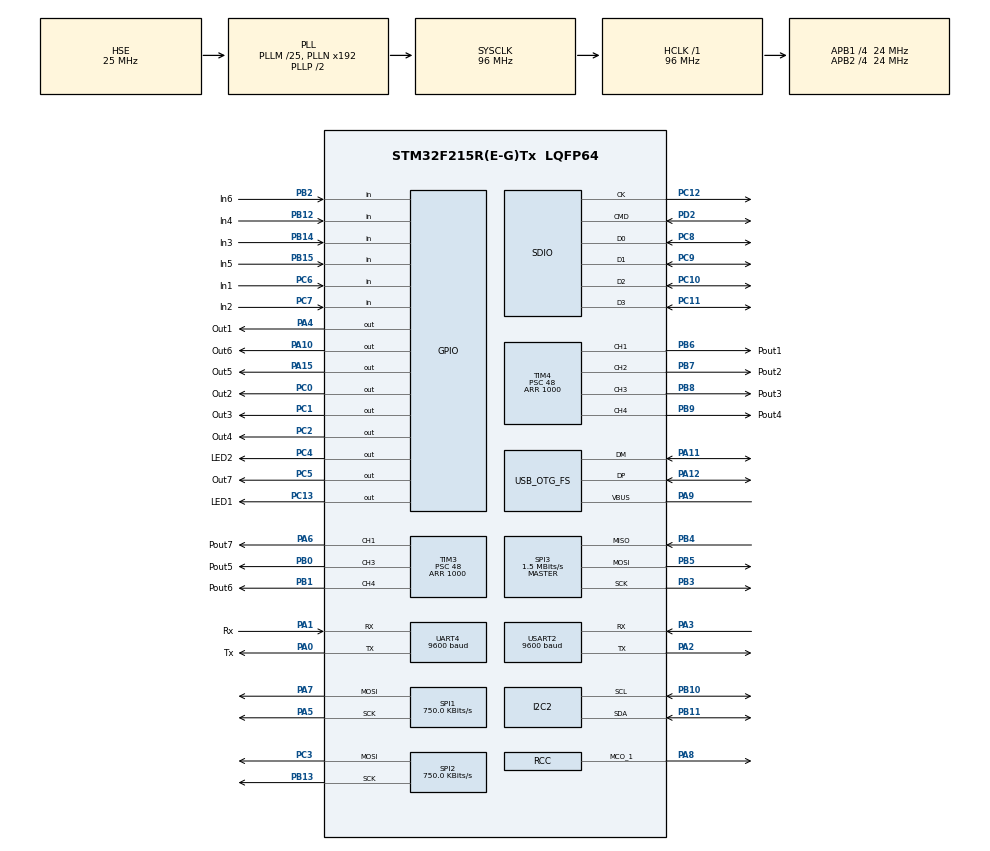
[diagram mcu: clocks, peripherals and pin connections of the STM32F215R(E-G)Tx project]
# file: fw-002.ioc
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ADC1.Channel-4\#ChannelRegularConversion=ADC_CHANNEL_VBAT
ADC1.ClockPrescaler=ADC_CLOCK_SYNC_PCLK_DIV2
ADC1.ContinuousConvMode=DISABLE
ADC1.DataAlign=ADC_DATAALIGN_RIGHT
ADC1.EOCSelection=ADC_EOC_SINGLE_CONV
ADC1.EnableAnalogWatchDog=false
ADC1.InjNumberOfConversion=0
ADC1.NbrOfConversion=1
ADC1.NbrOfConversionFlag=1
ADC1.Rank-4\#ChannelRegularConversion=1
ADC1.Resolution=ADC_RESOLUTION_12B
ADC1.SamplingTime-4\#ChannelRegularConversion=ADC_SAMPLETIME_56CYCLES
ADC1.ScanConvMode=DISABLE
ADC1.master=1
Dma.MEMTOMEM.2.Direction=DMA_MEMORY_TO_MEMORY
Dma.MEMTOMEM.2.FIFOMode=DMA_FIFOMODE_ENABLE
Dma.MEMTOMEM.2.FIFOThreshold=DMA_FIFO_THRESHOLD_FULL
Dma.MEMTOMEM.2.Instance=DMA2_Stream0
Dma.MEMTOMEM.2.MemBurst=DMA_MBURST_SINGLE
Dma.MEMTOMEM.2.MemDataAlignment=DMA_MDATAALIGN_BYTE
Dma.MEMTOMEM.2.MemInc=DMA_MINC_ENABLE
Dma.MEMTOMEM.2.Mode=DMA_NORMAL
Dma.MEMTOMEM.2.PeriphBurst=DMA_PBURST_SINGLE
Dma.MEMTOMEM.2.PeriphDataAlignment=DMA_PDATAALIGN_BYTE
Dma.MEMTOMEM.2.PeriphInc=DMA_PINC_ENABLE
Dma.MEMTOMEM.2.Priority=DMA_PRIORITY_LOW
Dma.Request0=SPI1_TX
Dma.Request1=SPI2_TX
Dma.Request2=MEMTOMEM
Dma.SPI1_TX.0.Direction=DMA_MEMORY_TO_PERIPH
Dma.SPI1_TX.0.FIFOMode=DMA_FIFOMODE_DISABLE
Dma.SPI1_TX.0.Instance=DMA2_Stream3
Dma.SPI1_TX.0.MemDataAlignment=DMA_MDATAALIGN_BYTE
Dma.SPI1_TX.0.MemInc=DMA_MINC_ENABLE
Dma.SPI1_TX.0.Mode=DMA_NORMAL
Dma.SPI1_TX.0.PeriphDataAlignment=DMA_PDATAALIGN_BYTE
Dma.SPI1_TX.0.PeriphInc=DMA_PINC_DISABLE
Dma.SPI1_TX.0.Priority=DMA_PRIORITY_VERY_HIGH
Dma.SPI2_TX.1.Direction=DMA_MEMORY_TO_PERIPH
Dma.SPI2_TX.1.FIFOMode=DMA_FIFOMODE_DISABLE
Dma.SPI2_TX.1.Instance=DMA1_Stream4
Dma.SPI2_TX.1.MemDataAlignment=DMA_MDATAALIGN_BYTE
Dma.SPI2_TX.1.MemInc=DMA_MINC_ENABLE
Dma.SPI2_TX.1.Mode=DMA_NORMAL
Dma.SPI2_TX.1.PeriphDataAlignment=DMA_PDATAALIGN_BYTE
Dma.SPI2_TX.1.PeriphInc=DMA_PINC_DISABLE
Dma.SPI2_TX.1.Priority=DMA_PRIORITY_VERY_HIGH
FATFS._MAX_SS=4096
Mcu.Family=STM32F2
Mcu.Name=STM32F215R(E-G)Tx
Mcu.Package=LQFP64
NVIC.DMA1_Stream4_IRQn=true\:1\:0\:true\:false\:true\:false\:true\:true
NVIC.DMA2_Stream0_IRQn=true\:0\:0\:false\:false\:true\:true\:true\:true
NVIC.DMA2_Stream3_IRQn=true\:1\:0\:true\:false\:true\:false\:true\:true
NVIC.OTG_FS_IRQn=true\:0\:0\:false\:false\:true\:false\:true\:true
NVIC.PriorityGroup=NVIC_PRIORITYGROUP_4
NVIC.TIM3_IRQn=true\:0\:0\:false\:false\:true\:true\:true\:true
NVIC.TIM4_IRQn=true\:0\:0\:false\:false\:true\:true\:true\:true
NVIC.USART2_IRQn=true\:0\:0\:false\:false\:true\:true\:true\:true
PA0-WKUP.GPIO_Label=Tx
PA0-WKUP.Mode=Asynchronous
PA0-WKUP.Signal=UART4_TX
PA1.GPIO_Label=Rx
PA1.Mode=Asynchronous
PA1.Signal=UART4_RX
PA10.GPIO_Label=Out6
PA10.Signal=GPIO_Output
PA11.Mode=Device_Only
PA11.Signal=USB_OTG_FS_DM
PA12.Mode=Device_Only
PA12.Signal=USB_OTG_FS_DP
PA13.Mode=Serial_Wire
PA13.Signal=SYS_JTMS-SWDIO
PA14.Mode=Serial_Wire
PA14.Signal=SYS_JTCK-SWCLK
PA15.GPIO_Label=Out5
PA15.Signal=GPIO_Output
PA2.Mode=Asynchronous
PA2.Signal=USART2_TX
PA3.Mode=Asynchronous
PA3.Signal=USART2_RX
PA4.GPIO_Label=Out1
PA4.Signal=GPIO_Output
PA5.Mode=TX_Only_Simplex_Unidirect_Master
PA5.Signal=SPI1_SCK
PA6.GPIO_Label=Pout7
PA6.Signal=S_TIM3_CH1
PA7.Mode=TX_Only_Simplex_Unidirect_Master
PA7.Signal=SPI1_MOSI
PA8.Mode=Clock-out-1
PA8.Signal=RCC_MCO_1
PA9.Mode=Activate_VBUS
PA9.Signal=USB_OTG_FS_VBUS
PB0.GPIO_Label=Pout5
PB0.Signal=S_TIM3_CH3
PB1.GPIO_Label=Pout6
PB1.Signal=S_TIM3_CH4
PB10.GPIO_Pu=GPIO_PULLUP
PB10.Mode=I2C
PB10.Signal=I2C2_SCL
PB11.GPIO_Pu=GPIO_PULLUP
PB11.Mode=I2C
PB11.Signal=I2C2_SDA
PB12.GPIO_Label=In4
PB12.Signal=GPIO_Input
PB13.Mode=TX_Only_Simplex_Unidirect_Master
PB13.Signal=SPI2_SCK
PB14.GPIO_Label=In3
PB14.Signal=GPIO_Input
PB15.GPIO_Label=In5
PB15.Signal=GPIO_Input
PB2.GPIO_Label=In6
PB2.Signal=GPIO_Input
PB3.Mode=Full_Duplex_Master
PB3.Signal=SPI3_SCK
PB4.Mode=Full_Duplex_Master
PB4.Signal=SPI3_MISO
PB5.Mode=Full_Duplex_Master
PB5.Signal=SPI3_MOSI
PB6.GPIO_Label=Pout1
PB6.Signal=S_TIM4_CH1
PB7.GPIO_Label=Pout2
PB7.Signal=S_TIM4_CH2
PB8.GPIO_Label=Pout3
PB8.Signal=S_TIM4_CH3
PB9.GPIO_Label=Pout4
PB9.Signal=S_TIM4_CH4
PC0.GPIO_Label=Out2
PC0.Signal=GPIO_Output
PC1.GPIO_Label=Out3
PC1.Signal=GPIO_Output
PC10.GPIO_PuPd=GPIO_PULLUP
PC10.Mode=SD_4_bits_Wide_bus
PC10.Signal=SDIO_D2
PC11.GPIO_PuPd=GPIO_PULLUP
PC11.Mode=SD_4_bits_Wide_bus
PC11.Signal=SDIO_D3
PC12.GPIO_PuPd=GPIO_NOPULL
PC12.Mode=SD_4_bits_Wide_bus
PC12.Signal=SDIO_CK
PC13.GPIO_Label=LED1
PC13.Signal=GPIO_Output
PC14-OSC32_IN.Mode=LSE-External-Oscillator
PC14-OSC32_IN.Signal=RCC_OSC32_IN
PC15-OSC32_OUT.Mode=LSE-External-Oscillator
PC15-OSC32_OUT.Signal=RCC_OSC32_OUT
PC2.GPIO_Label=Out4
PC2.Signal=GPIO_Output
PC3.Mode=TX_Only_Simplex_Unidirect_Master
PC3.Signal=SPI2_MOSI
PC4.GPIO_Label=LED2
PC4.PinState=GPIO_PIN_SET
PC4.Signal=GPIO_Output
PC5.GPIO_Label=Out7
PC5.Signal=GPIO_Output
PC6.GPIO_Label=In1
PC6.Signal=GPIO_Input
PC7.GPIO_Label=In2
PC7.Signal=GPIO_Input
PC8.GPIO_PuPd=GPIO_PULLUP
PC8.Mode=SD_4_bits_Wide_bus
PC8.Signal=SDIO_D0
PC9.GPIO_PuPd=GPIO_PULLUP
PC9.Mode=SD_4_bits_Wide_bus
PC9.Signal=SDIO_D1
PD2.GPIO_PuPd=GPIO_PULLUP
PD2.Mode=SD_4_bits_Wide_bus
PD2.Signal=SDIO_CMD
PH0-OSC_IN.Mode=HSE-External-Oscillator
PH0-OSC_IN.Signal=RCC_OSC_IN
PH1-OSC_OUT.Mode=HSE-External-Oscillator
PH1-OSC_OUT.Signal=RCC_OSC_OUT
ProjectManager.HeapSize=0x200
ProjectManager.StackSize=0x400
ProjectManager.TargetToolchain=STM32CubeIDE
RCC.48MHZClocksFreq_Value=48000000
RCC.AHBFreq_Value=96000000
RCC.APB1CLKDivider=RCC_HCLK_DIV4
RCC.APB1Freq_Value=24000000
RCC.APB1TimFreq_Value=48000000
RCC.APB2CLKDivider=RCC_HCLK_DIV4
RCC.APB2Freq_Value=24000000
RCC.APB2TimFreq_Value=48000000
RCC.CortexFreq_Value=96000000
RCC.HCLKFreq_Value=96000000
RCC.HSE_VALUE=25000000
RCC.HSI_VALUE=16000000
RCC.PLLM=25
RCC.PLLSourceVirtual=RCC_PLLSOURCE_HSE
RCC.PWR_Regulator_Voltage_Scale=PWR_REGULATOR_VOLTAGE_SCALE1
RCC.RCC_MCO1Source=RCC_MCO1SOURCE_HSE
RCC.RCC_TIM_PRescaler_Selection=RCC_TIMPRES_DESACTIVATED
RCC.SYSCLKFreq_VALUE=96000000
RCC.SYSCLKSource=RCC_SYSCLKSOURCE_PLLCLK
RCC.VCOOutputFreq_Value=192000000
RTC.Format=RTC_FORMAT_BIN
SDIO.ClockDiv=48
SH.S_TIM3_CH1.0=TIM3_CH1,PWM Generation1 CH1
SH.S_TIM3_CH3.0=TIM3_CH3,PWM Generation3 CH3
SH.S_TIM3_CH4.0=TIM3_CH4,PWM Generation4 CH4
SH.S_TIM4_CH1.0=TIM4_CH1,PWM Generation1 CH1
SH.S_TIM4_CH2.0=TIM4_CH2,PWM Generation2 CH2
SH.S_TIM4_CH3.0=TIM4_CH3,PWM Generation3 CH3
SH.S_TIM4_CH4.0=TIM4_CH4,PWM Generation4 CH4
SPI1.BaudRatePrescaler=SPI_BAUDRATEPRESCALER_32
SPI1.CalculateBaudRate=750.0 KBits/s
SPI1.Direction=SPI_DIRECTION_2LINES
SPI1.Mode=SPI_MODE_MASTER
SPI1.VirtualType=VM_MASTER
SPI2.BaudRatePrescaler=SPI_BAUDRATEPRESCALER_32
SPI2.CalculateBaudRate=750.0 KBits/s
SPI2.Direction=SPI_DIRECTION_2LINES
SPI2.Mode=SPI_MODE_MASTER
SPI2.VirtualType=VM_MASTER
SPI3.BaudRatePrescaler=SPI_BAUDRATEPRESCALER_16
SPI3.CalculateBaudRate=1.5 MBits/s
SPI3.Direction=SPI_DIRECTION_2LINES
SPI3.Mode=SPI_MODE_MASTER
SPI3.VirtualType=VM_MASTER
TIM3.Channel-PWM\ Generation1\ CH1=TIM_CHANNEL_1
TIM3.Channel-PWM\ Generation3\ CH3=TIM_CHANNEL_3
TIM3.Channel-PWM\ Generation4\ CH4=TIM_CHANNEL_4
TIM3.Period=1000
TIM3.Prescaler=48
TIM3.Pulse-PWM\ Generation4\ CH4=0
TIM4.Channel-PWM\ Generation1\ CH1=TIM_CHANNEL_1
TIM4.Channel-PWM\ Generation2\ CH2=TIM_CHANNEL_2
TIM4.Channel-PWM\ Generation3\ CH3=TIM_CHANNEL_3
TIM4.Channel-PWM\ Generation4\ CH4=TIM_CHANNEL_4
TIM4.Period=1000
TIM4.Prescaler=48
TIM4.Pulse-PWM\ Generation4\ CH4=0
UART4.BaudRate=9600
UART4.VirtualMode=Asynchronous
USART2.BaudRate=9600
USART2.VirtualMode=VM_ASYNC
USB_DEVICE.CLASS_NAME_FS=CDC
USB_DEVICE.PRODUCT_STRING_CDC_FS=STM Virtual ComPort
USB_DEVICE.VirtualMode-CDC_FS=Cdc
USB_DEVICE.VirtualModeFS=Cdc_FS
USB_OTG_FS.VirtualMode=Device_Only
VP_ADC1_Vbat_Input.Mode=IN-Vbat
VP_CRC_VS_CRC.Mode=CRC_Activate
VP_FATFS_VS_SDIO.Mode=SDIO
VP_RNG_VS_RNG.Mode=RNG_Activate
VP_RTC_VS_RTC_Activate.Mode=RTC_Enabled
VP_RTC_VS_RTC_Calendar.Mode=RTC_Calendar
VP_USB_DEVICE_VS_USB_DEVICE_CDC_FS.Mode=CDC_FS
board=custom

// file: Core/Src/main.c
/* USER CODE BEGIN Header */
/**
  ******************************************************************************
  * @file           : main.c
  * @brief          : Main program body
  ******************************************************************************
  * @attention
  *
  * Copyright (c) 2022 STMicroelectronics.
  * All rights reserved.
  *
  * This software is licensed under terms that can be found in the LICENSE file
  * in the root directory of this software component.
  * If no LICENSE file comes with this software, it is provided AS-IS.
  *
  ******************************************************************************
  */
/* USER CODE END Header */
#include "main.h"
#include "adc.h"
#include "crc.h"
#include "dma.h"
#include "fatfs.h"
#include "i2c.h"
#include "rng.h"
#include "rtc.h"
#include "sdio.h"
#include "spi.h"
#include "tim.h"
#include "usart.h"
#include "usb_device.h"
#include "gpio.h"

/* USER CODE BEGIN Includes */

#include "module.h"
#include "stdlib.h"

/* USER CODE END Includes */

/* USER CODE BEGIN PD */

#define LORA

/* USER CODE END PD */

/* USER CODE BEGIN PV */
//		uint8_t crc[16] = {0x00,0x00,0x00,0x0f,0x01,0x01,0xFF,0xFF,0xFF,0xFF,0x00,0x01,0x01,0x00,0x01,0x00};
		extern LED_ColorTypeDef Debug_LED1;
		extern LED_ColorTypeDef Debug_LED2;
		extern uint8_t init_OK;

		uint16_t ModbusReg[32] = {
				0x0065, // 0 - адрес
				0x0000,	// 1 - чётность
				0x0000,	// 2 - стоп бит
				0x0000,	// 3 - бодрейт
				0x0000,	// 4 -
				0x0000,	// 5 -
				0x0000,	// 6 -
				0x0303,	// 7 - LoRa
				0x6200, // 8 - LoRa
				0x0303, // 9 - LoRa
				0x0000, // 10 - кормовой правый
				0x0000, // 11 - кормовой левый
				0x0000, // 12 - носовой правый
				0x0000, // 13 - носовой левый
				0x0000, // 14 - полный стоп
				0x0000, // 15 -
				0x0000, // 16 -
				0x0000, // 17 -
				0x0000, // 18 -
				0x0000, // 19 -
				0x0000, // 20 - заряд батареи
				0x0000, // 21 -
				0x0000, // 22 -
				0x0000, // 23 -
				0x0000, // 24 -
				0x0000, // 25 -
				0x0000, // 26 -
				0x0000, // 27 -
				0x0000, // 28 -
				0x0000, // 29 -
				0x0000, // 30 -
				0x0000  // 31 -
		};
		uint8_t rx_byte;

/* USER CODE END PV */

void SystemClock_Config(void);
/* USER CODE BEGIN PFP */

uint16_t MRTU_CRC(uint8_t *data, uint8_t len);
void MRTU_Read(uint16_t reg);
void MRTU_Write(uint16_t reg, uint16_t value);
void MRTU_Error(uint8_t code, uint8_t func);
void Update_reg(void);

/* USER CODE END PFP */

/* USER CODE BEGIN 0 */
/* Table of CRC values for high–order byte*/
const uint8_t auchCRCHi[] = {
0x00, 0xC1, 0x81, 0x40, 0x01, 0xC0, 0x80, 0x41, 0x01, 0xC0, 0x80, 0x41, 0x00, 0xC1, 0x81,
0x40, 0x01, 0xC0, 0x80, 0x41, 0x00, 0xC1, 0x81, 0x40, 0x00, 0xC1, 0x81, 0x40, 0x01, 0xC0,
0x80, 0x41, 0x01, 0xC0, 0x80, 0x41, 0x00, 0xC1, 0x81, 0x40, 0x00, 0xC1, 0x81, 0x40, 0x01,
0xC0, 0x80, 0x41, 0x00, 0xC1, 0x81, 0x40, 0x01, 0xC0, 0x80, 0x41, 0x01, 0xC0, 0x80, 0x41,
0x00, 0xC1, 0x81, 0x40, 0x01, 0xC0, 0x80, 0x41, 0x00, 0xC1, 0x81, 0x40, 0x00, 0xC1, 0x81,
0x40, 0x01, 0xC0, 0x80, 0x41, 0x00, 0xC1, 0x81, 0x40, 0x01, 0xC0, 0x80, 0x41, 0x01, 0xC0,
0x80, 0x41, 0x00, 0xC1, 0x81, 0x40, 0x00, 0xC1, 0x81, 0x40, 0x01, 0xC0, 0x80, 0x41, 0x01,
0xC0, 0x80, 0x41, 0x00, 0xC1, 0x81, 0x40, 0x01, 0xC0, 0x80, 0x41, 0x00, 0xC1, 0x81, 0x40,
0x00, 0xC1, 0x81, 0x40, 0x01, 0xC0, 0x80, 0x41, 0x01, 0xC0, 0x80, 0x41, 0x00, 0xC1, 0x81,
0x40, 0x00, 0xC1, 0x81, 0x40, 0x01, 0xC0, 0x80, 0x41, 0x00, 0xC1, 0x81, 0x40, 0x01, 0xC0,
0x80, 0x41, 0x01, 0xC0, 0x80, 0x41, 0x00, 0xC1, 0x81, 0x40, 0x00, 0xC1, 0x81, 0x40, 0x01,
0xC0, 0x80, 0x41, 0x01, 0xC0, 0x80, 0x41, 0x00, 0xC1, 0x81, 0x40, 0x01, 0xC0, 0x80, 0x41,
0x00, 0xC1, 0x81, 0x40, 0x00, 0xC1, 0x81, 0x40, 0x01, 0xC0, 0x80, 0x41, 0x00, 0xC1, 0x81,
0x40, 0x01, 0xC0, 0x80, 0x41, 0x01, 0xC0, 0x80, 0x41, 0x00, 0xC1, 0x81, 0x40, 0x01, 0xC0,
0x80, 0x41, 0x00, 0xC1, 0x81, 0x40, 0x00, 0xC1, 0x81, 0x40, 0x01, 0xC0, 0x80, 0x41, 0x01,
0xC0, 0x80, 0x41, 0x00, 0xC1, 0x81, 0x40, 0x00, 0xC1, 0x81, 0x40, 0x01, 0xC0, 0x80, 0x41,
0x00, 0xC1, 0x81, 0x40, 0x01, 0xC0, 0x80, 0x41, 0x01, 0xC0, 0x80, 0x41, 0x00, 0xC1, 0x81,
0x40
};

/* Table of CRC values for low–order byte*/
const uint8_t auchCRCLo[] = {
0x00, 0xC0, 0xC1, 0x01, 0xC3, 0x03, 0x02, 0xC2, 0xC6, 0x06, 0x07, 0xC7, 0x05, 0xC5, 0xC4,
0x04, 0xCC, 0x0C, 0x0D, 0xCD, 0x0F, 0xCF, 0xCE, 0x0E, 0x0A, 0xCA, 0xCB, 0x0B, 0xC9, 0x09,
0x08, 0xC8, 0xD8, 0x18, 0x19, 0xD9, 0x1B, 0xDB, 0xDA, 0x1A, 0x1E, 0xDE, 0xDF, 0x1F, 0xDD,
0x1D, 0x1C, 0xDC, 0x14, 0xD4, 0xD5, 0x15, 0xD7, 0x17, 0x16, 0xD6, 0xD2, 0x12, 0x13, 0xD3,
0x11, 0xD1, 0xD0, 0x10, 0xF0, 0x30, 0x31, 0xF1, 0x33, 0xF3, 0xF2, 0x32, 0x36, 0xF6, 0xF7,
0x37, 0xF5, 0x35, 0x34, 0xF4, 0x3C, 0xFC, 0xFD, 0x3D, 0xFF, 0x3F, 0x3E, 0xFE, 0xFA, 0x3A,
0x3B, 0xFB, 0x39, 0xF9, 0xF8, 0x38, 0x28, 0xE8, 0xE9, 0x29, 0xEB, 0x2B, 0x2A, 0xEA, 0xEE,
0x2E, 0x2F, 0xEF, 0x2D, 0xED, 0xEC, 0x2C, 0xE4, 0x24, 0x25, 0xE5, 0x27, 0xE7, 0xE6, 0x26,
0x22, 0xE2, 0xE3, 0x23, 0xE1, 0x21, 0x20, 0xE0, 0xA0, 0x60, 0x61, 0xA1, 0x63, 0xA3, 0xA2,
0x62, 0x66, 0xA6, 0xA7, 0x67, 0xA5, 0x65, 0x64, 0xA4, 0x6C, 0xAC, 0xAD, 0x6D, 0xAF, 0x6F,
0x6E, 0xAE, 0xAA, 0x6A, 0x6B, 0xAB, 0x69, 0xA9, 0xA8, 0x68, 0x78, 0xB8, 0xB9, 0x79, 0xBB,
0x7B, 0x7A, 0xBA, 0xBE, 0x7E, 0x7F, 0xBF, 0x7D, 0xBD, 0xBC, 0x7C, 0xB4, 0x74, 0x75, 0xB5,
0x77, 0xB7, 0xB6, 0x76, 0x72, 0xB2, 0xB3, 0x73, 0xB1, 0x71, 0x70, 0xB0, 0x50, 0x90, 0x91,
0x51, 0x93, 0x53, 0x52, 0x92, 0x96, 0x56, 0x57, 0x97, 0x55, 0x95, 0x94, 0x54, 0x9C, 0x5C,
0x5D, 0x9D, 0x5F, 0x9F, 0x9E, 0x5E, 0x5A, 0x9A, 0x9B, 0x5B, 0x99, 0x59, 0x58, 0x98, 0x88,
0x48, 0x49, 0x89, 0x4B, 0x8B, 0x8A, 0x4A, 0x4E, 0x8E, 0x8F, 0x4F, 0x8D, 0x4D, 0x4C, 0x8C,
0x44, 0x84, 0x85, 0x45, 0x87, 0x47, 0x46, 0x86, 0x82, 0x42, 0x43, 0x83, 0x41, 0x81, 0x80,
0x40
};
/* USER CODE END 0 */

int main(void)
{

  /* MCU Configuration--------------------------------------------------------*/

  /* Reset of all peripherals, Initializes the Flash interface and the Systick. */
  HAL_Init();

  /* Configure the system clock */
  SystemClock_Config();

  /* Initialize all configured peripherals */
  MX_GPIO_Init();
  MX_DMA_Init();
  MX_SPI1_Init();
  MX_SPI2_Init();
  MX_FATFS_Init();
  MX_TIM4_Init();
  MX_I2C2_Init();
  MX_RTC_Init();
  MX_SPI3_Init();
  MX_UART4_Init();
  MX_USB_DEVICE_Init();
  MX_TIM3_Init();
  MX_USART2_UART_Init();
  MX_RNG_Init();
  MX_SDIO_SD_Init();
  MX_CRC_Init();
  MX_ADC1_Init();
  /* USER CODE BEGIN 2 */

  	MM_Init();
	HAL_UART_Receive_IT(&huart2, &rx_byte, 1);

#ifdef LORA
	HAL_SPI_DeInit(&hspi3);
	GPIO_InitTypeDef GPIO_InitStruct = {0};
	  GPIO_InitStruct.Pin = GPIO_PIN_3|GPIO_PIN_4|GPIO_PIN_5;
	  GPIO_InitStruct.Mode = GPIO_MODE_OUTPUT_PP;
	  GPIO_InitStruct.Pull = GPIO_NOPULL;
	  HAL_GPIO_Init(GPIOB, &GPIO_InitStruct);
#define LORA_SET HAL_GPIO_WritePin(GPIOB, GPIO_PIN_3, GPIO_PIN_SET);
#define LORA_WORK HAL_GPIO_WritePin(GPIOB, GPIO_PIN_3, GPIO_PIN_RESET);

		LORA_SET
		HAL_Delay(1000);
		uint8_t prog_string[9] = {0xc0, 0x00, 0x06, 0x03, 0x03, 0x62, 0x00, 0x03, 0x03};
		HAL_UART_Transmit(&huart2, prog_string, 9, 50);
		HAL_Delay(1000);
		LORA_WORK

	  LORA_WORK

#endif
  	init_OK = 1;

  /* USER CODE END 2 */

  /* Infinite loop */
  while (1)
  {

    /* USER CODE BEGIN 3 */

//	  Debug_LED1 = 	RED;
	  Debug_LED1 = BLACK;
	  Debug_LED2 = BLACK;
	  HAL_Delay(500);

//	  Debug_LED1 = BLACK;

	  Debug_LED1 = GREEN;
	  HAL_Delay(500);

//	  CDC_Transmit_FS(rx_data, 10);
//	  HAL_UART_Transmit(&huart2, rx_data, 7, 10);

  }
  /* USER CODE END 3 */
}

void SystemClock_Config(void)
{
  RCC_OscInitTypeDef RCC_OscInitStruct = {0};
  RCC_ClkInitTypeDef RCC_ClkInitStruct = {0};
  RCC_PeriphCLKInitTypeDef PeriphClkInitStruct = {0};

  /** Initializes the RCC Oscillators according to the specified parameters
  * in the RCC_OscInitTypeDef structure.
  */
  RCC_OscInitStruct.OscillatorType = RCC_OSCILLATORTYPE_LSI|RCC_OSCILLATORTYPE_HSE;
  RCC_OscInitStruct.HSEState = RCC_HSE_ON;
  RCC_OscInitStruct.LSIState = RCC_LSI_ON;
  RCC_OscInitStruct.PLL.PLLState = RCC_PLL_ON;
  RCC_OscInitStruct.PLL.PLLSource = RCC_PLLSOURCE_HSE;
  RCC_OscInitStruct.PLL.PLLM = 25;
  RCC_OscInitStruct.PLL.PLLN = 192;
  RCC_OscInitStruct.PLL.PLLP = RCC_PLLP_DIV2;
  RCC_OscInitStruct.PLL.PLLQ = 4;
  if (HAL_RCC_OscConfig(&RCC_OscInitStruct) != HAL_OK)
  {
    Error_Handler();
  }

  /** Initializes the CPU, AHB and APB buses clocks
  */
  RCC_ClkInitStruct.ClockType = RCC_CLOCKTYPE_HCLK|RCC_CLOCKTYPE_SYSCLK
                              |RCC_CLOCKTYPE_PCLK1|RCC_CLOCKTYPE_PCLK2;
  RCC_ClkInitStruct.SYSCLKSource = RCC_SYSCLKSOURCE_PLLCLK;
  RCC_ClkInitStruct.AHBCLKDivider = RCC_SYSCLK_DIV1;
  RCC_ClkInitStruct.APB1CLKDivider = RCC_HCLK_DIV4;
  RCC_ClkInitStruct.APB2CLKDivider = RCC_HCLK_DIV4;

  if (HAL_RCC_ClockConfig(&RCC_ClkInitStruct, FLASH_LATENCY_3) != HAL_OK)
  {
    Error_Handler();
  }
  PeriphClkInitStruct.PeriphClockSelection = RCC_PERIPHCLK_RTC;
  PeriphClkInitStruct.RTCClockSelection = RCC_RTCCLKSOURCE_LSI;
  if (HAL_RCCEx_PeriphCLKConfig(&PeriphClkInitStruct) != HAL_OK)
  {
    Error_Handler();
  }
  HAL_RCC_MCOConfig(RCC_MCO1, RCC_MCO1SOURCE_HSE, RCC_MCODIV_1);
}

/* USER CODE BEGIN 4 */

void HAL_UART_RxCpltCallback(UART_HandleTypeDef *huart){
	static uint8_t reseive_msg[16] = {0};
	static uint8_t current_byte = 0;
	reseive_msg[current_byte] = rx_byte;
	HAL_UART_Receive_IT(&huart2, &rx_byte, 1);

	Debug_LED2 = RED;

	if (current_byte < 7){
		current_byte = (reseive_msg[0] == ModbusReg[0]) ? current_byte + 1 : 0;
	}
	else{
		current_byte = 0;
		uint16_t tmp = MRTU_CRC(reseive_msg, 6);
		uint8_t CRC1 = (uint8_t)tmp;
		uint8_t CRC2 = (uint8_t)(tmp >> 8);
		if (reseive_msg[1] == 3){
			if (	   (reseive_msg[2] == 0) && (reseive_msg[3] < 32) \
					&& (reseive_msg[4] == 0) && (reseive_msg[5] == 1) \
					&& (reseive_msg[6] == CRC1) && (reseive_msg[7] == CRC2)){
				MRTU_Read(reseive_msg[3]);
			}
			else {MRTU_Error(3, reseive_msg[1]);}
		}
		else if (reseive_msg[1] == 6){
			if (	   (reseive_msg[2] == 0) && (reseive_msg[3] < 32) \
					&& (reseive_msg[6] == CRC1) && (reseive_msg[7] == CRC2)){

				MRTU_Write(reseive_msg[3], (((uint16_t)reseive_msg[5]) | (uint16_t)(reseive_msg[4] << 8)));
				Update_reg();
			}
			else {MRTU_Error(3, reseive_msg[1]);}
		}
		else {MRTU_Error(1, reseive_msg[1]);}
	}
}

void Main_IncTic(void){
	static uint8_t timer_5_sec;
	if (timer_5_sec) {timer_5_sec--;}
	else {
		Update_reg();
		timer_5_sec = 5000;
	}
}

void Update_reg(void){
	if (ModbusReg[14]) {
		ModbusReg[14] = 0;
		ModbusReg[13] = 0;
		ModbusReg[12] = 0;
		ModbusReg[11] = 0;
		ModbusReg[10] = 0;
	}
	Set_Out(P_OUT_2, ModbusReg[10]);
	Set_Out(P_OUT_3, ModbusReg[11]);
	Set_Out(P_OUT_4, ModbusReg[12]);
	Set_Out(P_OUT_5, ModbusReg[13]);
	uint16_t tmp = HAL_ADC_GetValue(&hadc1);
	ModbusReg[20] = (tmp * 5) + (tmp >> 3);
	HAL_ADC_Start(&hadc1);

}

void Buttons_Handler (uint8_t Butt, Button_events_TypeDef Event){

	if ((Butt == 0) && (Event == SHORT_CLC)) {

	}
	if ((Butt == 0) && (Event == DOUBLE_CLC)) {

	}
	if ((Butt == 0) && (Event == LONG_CLC)) {

	}

}
uint16_t MRTU_CRC(uint8_t *data, uint8_t len){
    uint8_t uchCRCHi = 0xFF;
    uint8_t uchCRCLo = 0xFF;
    uint16_t uIndex ;
    while(len--){
        uIndex = uchCRCHi ^ *data++ ;
        uchCRCHi = uchCRCLo ^ auchCRCHi[uIndex] ;
        uchCRCLo = auchCRCLo[uIndex] ;
    }
    return (((uint16_t)(uchCRCLo) << 8) | (uint16_t)(uchCRCHi));
}
void MRTU_Read(uint16_t reg){
	static uint8_t transmit_msg[16] = {0};

//	transmit_msg[0] = (uint8_t)(ModbusReg[7] >> 8);		//
//	transmit_msg[1] = (uint8_t)ModbusReg[7];			//адрес LorA хост
//	transmit_msg[2] = (uint8_t)ModbusReg[8];			//канал LoRa
	transmit_msg[0] = (uint8_t)ModbusReg[0];			//MRTU адрес
	transmit_msg[1] = 0x03;								//код функции
	transmit_msg[2] = 2;								//длина пакета
	transmit_msg[3] = (uint8_t)(ModbusReg[reg] >> 8);	//передаваемый регистр при чтении старший байт
	transmit_msg[4] = (uint8_t)ModbusReg[reg];			//младший
	uint16_t tmp = MRTU_CRC(&transmit_msg[0], 5);
	transmit_msg[5] = (uint8_t)tmp;						//CRC
	transmit_msg[6] = (uint8_t)(tmp >> 8);				//

	HAL_UART_Transmit(&huart2, transmit_msg, 8, 50);
}
void MRTU_Write(uint16_t reg, uint16_t value){
	static uint8_t transmit_msg[16] = {0};
	ModbusReg[reg] = value;

//	transmit_msg[0] = (uint8_t)(ModbusReg[7] >> 8);		//
//	transmit_msg[1] = (uint8_t)ModbusReg[7];			//адрес LorA хост
//	transmit_msg[2] = (uint8_t)ModbusReg[8];			//канал LoRa
	transmit_msg[0] = (uint8_t)ModbusReg[0];			//MRTU адрес
	transmit_msg[1] = 0x06;								//код функции
	transmit_msg[2] = 2;								//длина пакета
	transmit_msg[3] = (uint8_t)(ModbusReg[reg] >> 8);	//передаваемый регистр при чтении старший байт
	transmit_msg[4] = (uint8_t)ModbusReg[reg];			//младший
	uint16_t tmp = MRTU_CRC(&transmit_msg[0], 5);
	transmit_msg[5] = (uint8_t)tmp;						//CRC
	transmit_msg[6] = (uint8_t)(tmp >> 8);				//

	HAL_UART_Transmit(&huart2, transmit_msg, 8, 50);
}
void MRTU_Error(uint8_t code, uint8_t func){
	static uint8_t transmit_msg[16] = {0};

//	transmit_msg[0] = (uint8_t)(ModbusReg[7] >> 8);		//
//	transmit_msg[1] = (uint8_t)ModbusReg[7];			//адрес LorA хост
//	transmit_msg[2] = (uint8_t)ModbusReg[8];			//канал LoRa
	transmit_msg[0] = (uint8_t)ModbusReg[0];			//MRTU адрес
	transmit_msg[1] = func | 0x80;						//код функции
	transmit_msg[2] = code;								//длина пакета
	uint16_t tmp = MRTU_CRC(&transmit_msg[0], 3);
	transmit_msg[3] = (uint8_t)tmp;						//CRC
	transmit_msg[4] = (uint8_t)(tmp >> 8);				//
	HAL_UART_Transmit(&huart2, transmit_msg, 5, 50);
}

/* USER CODE END 4 */

void Error_Handler(void)
{
  /* USER CODE BEGIN Error_Handler_Debug */
  /* User can add his own implementation to report the HAL error return state */
	Debug_LED2 = RED;
//  __disable_irq();
  while (1)
  {
  }
  /* USER CODE END Error_Handler_Debug */
}
